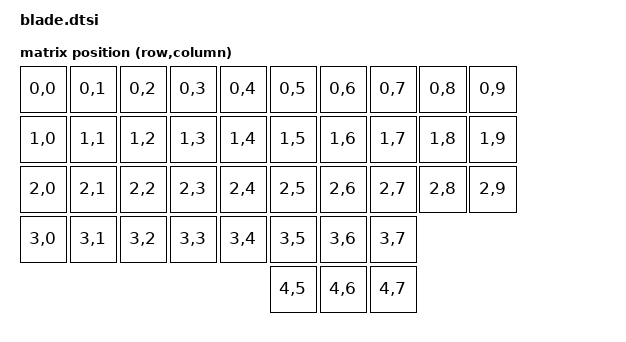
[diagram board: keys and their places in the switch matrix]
/*
 * Copyright (c) 2020 The ZMK Contributors
 *
 * SPDX-License-Identifier: MIT
 */

#include <dt-bindings/zmk/matrix_transform.h>

/* overrides nrfmacro.dts defaults */ 
&blue_led {
  gpios = <&gpio1 11 GPIO_ACTIVE_HIGH>;
};

&vcc_ctrl {
  control-gpios = <&gpio1 10 GPIO_ACTIVE_LOW>;
};

&vbatt {
  status = "disabled";
};

/* blade-specific: common settings */ 
/ {

	chosen: chosen {
		zmk,kscan = &kscan;
		zmk,matrix_transform = &default_transform;
    zmk,battery = &fuel_gauge;
	};

/* global matrix transform */
	default_transform: keymap_transform_0 {
		compatible = "zmk,matrix-transform";
		columns = <10>;
		rows = <5>;
// | SW1  | SW2  | SW3  | SW4  | SW5  |  | SW5  | SW4  | SW3  | SW2  | SW1  |
// | SW6  | SW7  | SW8  | SW9  | SW10 |  | SW10 | SW9  | SW8  | SW7  | SW6  |
// | SW11 | SW12 | SW13 | SW14 | SW15 |  | SW15 | SW14 | SW13 | SW12 | SW11 |
//               | SW16 | SW17 | SW18 |  | SW18 | SW17 | SW16 |
// 		map = <
// RC(0,0) RC(0,1) RC(0,2) RC(0,3) RC(0,4)  RC(0,5) RC(0,6) RC(0,7) RC(0,8) RC(0,9)
// RC(1,0) RC(1,1) RC(1,2) RC(1,3) RC(1,4)  RC(1,5) RC(1,6) RC(1,7) RC(1,8) RC(1,9)
// RC(2,0) RC(2,1) RC(2,2) RC(2,3) RC(2,4)  RC(2,5) RC(2,6) RC(2,7) RC(2,8) RC(2,9)
// RC(3,0) RC(3,1) RC(3,2) RC(3,3) RC(3,4)  RC(3,5) RC(3,6) RC(3,7) RC(3,8) RC(3,9)
// 		>;
		map = <
RC(0,0) RC(0,1) RC(0,2) RC(0,3) RC(0,4)  RC(0,5) RC(0,6) RC(0,7) RC(0,8) RC(0,9)
RC(1,0) RC(1,1) RC(1,2) RC(1,3) RC(1,4)  RC(1,5) RC(1,6) RC(1,7) RC(1,8) RC(1,9)
RC(2,0) RC(2,1) RC(2,2) RC(2,3) RC(2,4)  RC(2,5) RC(2,6) RC(2,7) RC(2,8) RC(2,9)
RC(3,0) RC(3,1) RC(3,2) RC(3,3) RC(3,4)  RC(3,5) RC(3,6) RC(3,7)
                                         RC(4,5) RC(4,6) RC(4,7)
		>;

	};

  /* Scan matrix declaration */
	kscan: kscan {
		compatible = "zmk,kscan-composite";
		label = "KSCAN";
		rows = <5>;
		columns = <10>;

		normal_keys {
			kscan = <&kscan0>;
		};

		touch_keys {
      kscan = <&kscan1>;
      row-offset = <4>;
		};
	};

  /* Configure Sliders (place holder) */
	sliders {
		compatible = "zmk,keymap-sliders";
		sliders = <&slider_left &slider_right>;
	};

  /* Configure Trackballs (place holder) */
	trackballs {
		compatible = "zmk,keymap-trackballs";
		trackballs = <&trackball_left &trackball_right>;
	};

  /* Configure Encoders (place holder) */
	sensors {
		compatible = "zmk,keymap-sensors";
		sensors = <&encoder_left &encoder_right>;
	};

	encoder_left: encoder_left {
		compatible = "alps,ec11";
    status = "disabled";
		label = "LEFT_ENCODER";
		resolution = <2>;
	};

	encoder_right: encoder_right {
		compatible = "alps,ec11";
    status = "disabled";
		label = "RIGHT_ENCODER";
    resolution = <2>;
	};
};

/* slider declaration */
&i2c0 {
  compatible = "nordic,nrf-twi";
  status = "okay";

  slider_left: slider_left@28 {
	  compatible = "zmk,kscan-cap1203";
	  label = "SLIDER_LEFT";
    status = "disabled";
    reg = <0x28>;
  };

  slider_right: slider_right@28 {
	  compatible = "zmk,kscan-cap1203";
	  label = "SLIDER_RIGHT";
    status = "disabled";
    reg = <0x28>;
  };

/* fuel gauge declaration */
  fuel_gauge: fuel_gauge@36 {
	  compatible = "zmk,battery-max17048";
	  label = "BATTERY_FUELGAUGE";
    status = "disabled";
    reg = <0x36>;
  };
};

/* trackball declaration */
&spi2 {
  compatible = "nordic,nrf-spim";
  status = "okay";

  trackball_left: trackball_left@0 {
    compatible = "pixart,pmw3610";
    status = "disabled";
    reg = <0>;
    label = "TRACKBALL_LEFT";
    spi-max-frequency = <2000000>;
    duplex = <2048>; // required by 3-wire spi
  };

  trackball_right: trackball_right@0 {
    compatible = "pixart,pmw3610";
    status = "disabled";
    reg = <0>;
    label = "TRACKBALL_RIGHT";
    spi-max-frequency = <2000000>;
    duplex = <2048>; // required by 3-wire spi
  };
};
